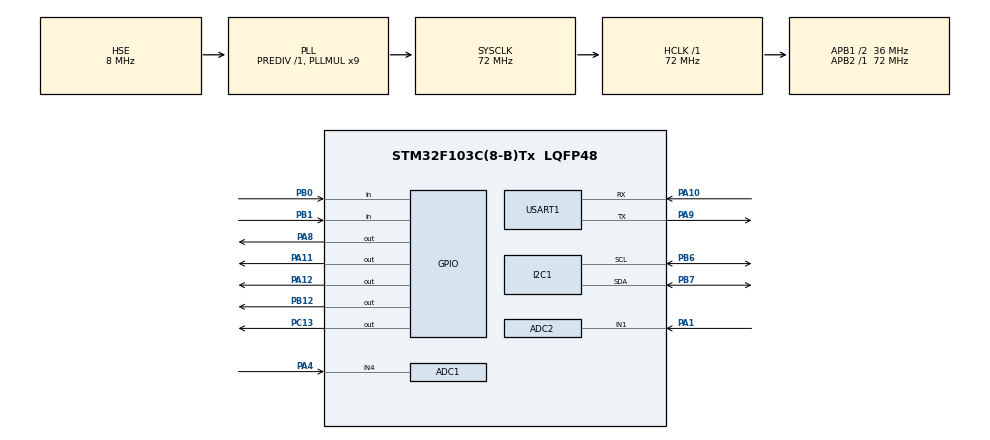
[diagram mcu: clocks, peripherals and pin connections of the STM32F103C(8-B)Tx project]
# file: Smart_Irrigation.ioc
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ADC1.Channel-0\#ChannelRegularConversion=ADC_CHANNEL_4
ADC1.NbrOfConversion=1
ADC1.NbrOfConversionFlag=1
ADC1.Rank-0\#ChannelRegularConversion=1
ADC1.SamplingTime-0\#ChannelRegularConversion=ADC_SAMPLETIME_239CYCLES_5
ADC1.master=1
ADC2.Channel-1\#ChannelRegularConversion=ADC_CHANNEL_1
ADC2.NbrOfConversionFlag=1
ADC2.Rank-1\#ChannelRegularConversion=1
ADC2.SamplingTime-1\#ChannelRegularConversion=ADC_SAMPLETIME_1CYCLE_5
I2C1.I2C_Mode=I2C_Standard
Mcu.Family=STM32F1
Mcu.Name=STM32F103C(8-B)Tx
Mcu.Package=LQFP48
NVIC.PriorityGroup=NVIC_PRIORITYGROUP_4
PA1.Signal=ADCx_IN1
PA10.Mode=Asynchronous
PA10.Signal=USART1_RX
PA11.Signal=GPIO_Output
PA12.Signal=GPIO_Output
PA13.Mode=Serial_Wire
PA13.Signal=SYS_JTMS-SWDIO
PA14.Mode=Serial_Wire
PA14.Signal=SYS_JTCK-SWCLK
PA4.Signal=ADCx_IN4
PA8.Signal=GPIO_Output
PA9.Mode=Asynchronous
PA9.Signal=USART1_TX
PB0.Signal=GPIO_Input
PB1.GPIO_PuPd=GPIO_PULLUP
PB1.Signal=GPIO_Input
PB12.GPIO_ModeDefaultOutputPP=GPIO_MODE_OUTPUT_OD
PB12.GPIO_PuPd=GPIO_NOPULL
PB12.Signal=GPIO_Output
PB6.Mode=I2C
PB6.Signal=I2C1_SCL
PB7.Mode=I2C
PB7.Signal=I2C1_SDA
PC13-TAMPER-RTC.Signal=GPIO_Output
PD0-OSC_IN.Mode=HSE-External-Oscillator
PD0-OSC_IN.Signal=RCC_OSC_IN
PD1-OSC_OUT.Mode=HSE-External-Oscillator
PD1-OSC_OUT.Signal=RCC_OSC_OUT
ProjectManager.HeapSize=0x200
ProjectManager.StackSize=0x400
ProjectManager.TargetToolchain=STM32CubeIDE
RCC.ADCPresc=RCC_ADCPCLK2_DIV6
RCC.AHBFreq_Value=72000000
RCC.APB1CLKDivider=RCC_HCLK_DIV2
RCC.APB1Freq_Value=36000000
RCC.APB1TimFreq_Value=72000000
RCC.APB2Freq_Value=72000000
RCC.APB2TimFreq_Value=72000000
RCC.HCLKFreq_Value=72000000
RCC.PLLMUL=RCC_PLL_MUL9
RCC.PLLSourceVirtual=RCC_PLLSOURCE_HSE
RCC.SYSCLKFreq_VALUE=72000000
RCC.SYSCLKSource=RCC_SYSCLKSOURCE_PLLCLK
RCC.USBFreq_Value=72000000
SH.ADCx_IN1.0=ADC2_IN1,IN1
SH.ADCx_IN4.0=ADC1_IN4,IN4
TIM2.Prescaler=71
USART1.VirtualMode=VM_ASYNC
VP_TIM2_VS_ClockSourceINT.Mode=Internal
board=custom

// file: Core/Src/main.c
/* USER CODE BEGIN Header */

/**
  ******************************************************************************
  * @file           : main.c
  * @brief          : Main program body
  ******************************************************************************
  * @attention
  *
  * Copyright (c) 2026 STMicroelectronics.
  * All rights reserved.
  *
  * This software is licensed under terms that can be found in the LICENSE file
  * in the root directory of this software component.
  * If no LICENSE file comes with this software, it is provided AS-IS.
  *
  ******************************************************************************
  */

/* USER CODE END Header */
#include "main.h"

/* USER CODE BEGIN Includes */
#include "ssd1306.h"
#include "dht22.h"
#include "rain_sensor.h"
#include "water_level.h"
#include "pump.h"
#include "buzzer.h"
#include "soil_moisture.h"
#include "irrigation.h"
#include "display_screens.h"
#include <stdio.h>
/* USER CODE END Includes */

ADC_HandleTypeDef hadc1;
ADC_HandleTypeDef hadc2;

I2C_HandleTypeDef hi2c1;

TIM_HandleTypeDef htim2;

UART_HandleTypeDef huart1;

/* USER CODE BEGIN PV */

uint16_t counter = 0;
char test_buffer[32];

/* USER CODE END PV */

void SystemClock_Config(void);
static void MX_GPIO_Init(void);
static void MX_ADC1_Init(void);
static void MX_I2C1_Init(void);
static void MX_TIM2_Init(void);
static void MX_USART1_UART_Init(void);
static void MX_ADC2_Init(void);

int main(void)
{

  /* MCU Configuration--------------------------------------------------------*/

  /* Reset of all peripherals, Initializes the Flash interface and the Systick. */
  HAL_Init();

  /* Configure the system clock */
  SystemClock_Config();

  /* Initialize all configured peripherals */
  MX_GPIO_Init();
  MX_ADC1_Init();
  MX_I2C1_Init();
  MX_TIM2_Init();
  MX_USART1_UART_Init();
  MX_ADC2_Init();
  /* USER CODE BEGIN 2 */
  ///////SETUP////////////
    SSD1306_Init(&hi2c1);
    SSD1306_Clear();
    SSD1306_SetCursor(0, 0);
    SSD1306_WriteString("SMART IRRIGATION");
    SSD1306_SetCursor(0, 16);
    SSD1306_WriteString("BOOTING...");
    SSD1306_UpdateScreen();

    DHT22_InitTimer(&htim2);
    Pump_Off();
    Buzzer_Off();
    StatusLED_OK(1);
    StatusLED_Warning(0);

    HAL_Delay(1000);

  /* USER CODE END 2 */

  /* Infinite loop */
    while (1)
    {

    /* USER CODE BEGIN 3 */

      static uint8_t pump_should_run = 0;
      static uint8_t screen_index = 0;
      uint8_t pump_timeout_flag = 0;
      uint8_t cooldown_active = 0;

      uint16_t soil_raw = 0, water_raw = 0;

      HAL_ADC_Start(&hadc1);
      HAL_ADC_PollForConversion(&hadc1, 100);
      soil_raw = HAL_ADC_GetValue(&hadc1);      // ADC1 channel 4 (soil, PA4)
      HAL_ADC_Stop(&hadc1);

      HAL_ADC_Start(&hadc2);
      HAL_ADC_PollForConversion(&hadc2, 100);
      water_raw = HAL_ADC_GetValue(&hadc2);     // ADC2 channel 1 (water level, PA1)
      HAL_ADC_Stop(&hadc2);

      uint8_t soil_pct  = Soil_ToPercent(soil_raw);
      uint8_t water_low = WaterLevel_IsLow(water_raw);
      uint8_t raining   = RainSensor_IsRaining();

      float temp = 0.0f, hum = 0.0f;
      DHT22_Status dht_status = DHT22_Read(&temp, &hum);

      SensorFaults faults;
      uint8_t any_fault = SensorFaults_Check(soil_raw, dht_status, &faults);

      uint8_t manual_mode = (HAL_GPIO_ReadPin(GPIOB, GPIO_PIN_1) == GPIO_PIN_RESET);

      if (manual_mode) {
          pump_should_run = (!water_low && !raining && !faults.soil_out_of_range) ? 1 : 0;
      } else {
          Irrigation_Decide(soil_pct, water_low, raining, faults.soil_out_of_range, &pump_should_run);
      }

      Pump_SafeControl(pump_should_run, soil_pct, &pump_timeout_flag, &cooldown_active);

      uint8_t warning = water_low || pump_timeout_flag || cooldown_active || any_fault;
      StatusLED_Warning(warning);
      if (warning) Buzzer_On(); else Buzzer_Off();
      StatusLED_OK(!warning);

      counter++;

      SystemStatus status = {
          .soil_pct = soil_pct,
          .water_low = water_low,
          .raining = raining,
          .temp = temp,
          .hum = hum,
          .dht_ok = (dht_status == DHT22_OK),
          .pump_on = pump_should_run,
          .manual_mode = manual_mode,
          .warning = warning,
          .cooldown_active = cooldown_active,
          .sensor_fault = any_fault
      };

      Display_ShowScreen(screen_index, &status);
      screen_index = (screen_index + 1) % DISPLAY_NUM_SCREENS;

      HAL_Delay(2000);

  /* USER CODE END 3 */
}
}
void SystemClock_Config(void)
{
  RCC_OscInitTypeDef RCC_OscInitStruct = {0};
  RCC_ClkInitTypeDef RCC_ClkInitStruct = {0};
  RCC_PeriphCLKInitTypeDef PeriphClkInit = {0};

  /** Initializes the RCC Oscillators according to the specified parameters
  * in the RCC_OscInitTypeDef structure.
  */
  RCC_OscInitStruct.OscillatorType = RCC_OSCILLATORTYPE_HSE;
  RCC_OscInitStruct.HSEState = RCC_HSE_ON;
  RCC_OscInitStruct.HSEPredivValue = RCC_HSE_PREDIV_DIV1;
  RCC_OscInitStruct.HSIState = RCC_HSI_ON;
  RCC_OscInitStruct.PLL.PLLState = RCC_PLL_ON;
  RCC_OscInitStruct.PLL.PLLSource = RCC_PLLSOURCE_HSE;
  RCC_OscInitStruct.PLL.PLLMUL = RCC_PLL_MUL9;
  if (HAL_RCC_OscConfig(&RCC_OscInitStruct) != HAL_OK)
  {
    Error_Handler();
  }

  /** Initializes the CPU, AHB and APB buses clocks
  */
  RCC_ClkInitStruct.ClockType = RCC_CLOCKTYPE_HCLK|RCC_CLOCKTYPE_SYSCLK
                              |RCC_CLOCKTYPE_PCLK1|RCC_CLOCKTYPE_PCLK2;
  RCC_ClkInitStruct.SYSCLKSource = RCC_SYSCLKSOURCE_PLLCLK;
  RCC_ClkInitStruct.AHBCLKDivider = RCC_SYSCLK_DIV1;
  RCC_ClkInitStruct.APB1CLKDivider = RCC_HCLK_DIV2;
  RCC_ClkInitStruct.APB2CLKDivider = RCC_HCLK_DIV1;

  if (HAL_RCC_ClockConfig(&RCC_ClkInitStruct, FLASH_LATENCY_2) != HAL_OK)
  {
    Error_Handler();
  }
  PeriphClkInit.PeriphClockSelection = RCC_PERIPHCLK_ADC;
  PeriphClkInit.AdcClockSelection = RCC_ADCPCLK2_DIV6;
  if (HAL_RCCEx_PeriphCLKConfig(&PeriphClkInit) != HAL_OK)
  {
    Error_Handler();
  }
}

static void MX_ADC1_Init(void)
{

  ADC_ChannelConfTypeDef sConfig = {0};

  /** Common config
  */
  hadc1.Instance = ADC1;
  hadc1.Init.ScanConvMode = ADC_SCAN_DISABLE;
  hadc1.Init.ContinuousConvMode = DISABLE;
  hadc1.Init.DiscontinuousConvMode = DISABLE;
  hadc1.Init.ExternalTrigConv = ADC_SOFTWARE_START;
  hadc1.Init.DataAlign = ADC_DATAALIGN_RIGHT;
  hadc1.Init.NbrOfConversion = 1;
  if (HAL_ADC_Init(&hadc1) != HAL_OK)
  {
    Error_Handler();
  }

  /** Configure Regular Channel
  */
  sConfig.Channel = ADC_CHANNEL_4;
  sConfig.Rank = ADC_REGULAR_RANK_1;
  sConfig.SamplingTime = ADC_SAMPLETIME_239CYCLES_5;
  if (HAL_ADC_ConfigChannel(&hadc1, &sConfig) != HAL_OK)
  {
    Error_Handler();
  }

}

static void MX_ADC2_Init(void)
{

  ADC_ChannelConfTypeDef sConfig = {0};

  /** Common config
  */
  hadc2.Instance = ADC2;
  hadc2.Init.ScanConvMode = ADC_SCAN_DISABLE;
  hadc2.Init.ContinuousConvMode = DISABLE;
  hadc2.Init.DiscontinuousConvMode = DISABLE;
  hadc2.Init.ExternalTrigConv = ADC_SOFTWARE_START;
  hadc2.Init.DataAlign = ADC_DATAALIGN_RIGHT;
  hadc2.Init.NbrOfConversion = 1;
  if (HAL_ADC_Init(&hadc2) != HAL_OK)
  {
    Error_Handler();
  }

  /** Configure Regular Channel
  */
  sConfig.Channel = ADC_CHANNEL_1;
  sConfig.Rank = ADC_REGULAR_RANK_1;
  sConfig.SamplingTime = ADC_SAMPLETIME_239CYCLES_5;
  if (HAL_ADC_ConfigChannel(&hadc2, &sConfig) != HAL_OK)
  {
    Error_Handler();
  }

}

static void MX_I2C1_Init(void)
{

  hi2c1.Instance = I2C1;
  hi2c1.Init.ClockSpeed = 100000;
  hi2c1.Init.DutyCycle = I2C_DUTYCYCLE_2;
  hi2c1.Init.OwnAddress1 = 0;
  hi2c1.Init.AddressingMode = I2C_ADDRESSINGMODE_7BIT;
  hi2c1.Init.DualAddressMode = I2C_DUALADDRESS_DISABLE;
  hi2c1.Init.OwnAddress2 = 0;
  hi2c1.Init.GeneralCallMode = I2C_GENERALCALL_DISABLE;
  hi2c1.Init.NoStretchMode = I2C_NOSTRETCH_DISABLE;
  if (HAL_I2C_Init(&hi2c1) != HAL_OK)
  {
    Error_Handler();
  }

}

static void MX_TIM2_Init(void)
{

  TIM_ClockConfigTypeDef sClockSourceConfig = {0};
  TIM_MasterConfigTypeDef sMasterConfig = {0};

  htim2.Instance = TIM2;
  htim2.Init.Prescaler = 71;
  htim2.Init.CounterMode = TIM_COUNTERMODE_UP;
  htim2.Init.Period = 65535;
  htim2.Init.ClockDivision = TIM_CLOCKDIVISION_DIV1;
  htim2.Init.AutoReloadPreload = TIM_AUTORELOAD_PRELOAD_DISABLE;
  if (HAL_TIM_Base_Init(&htim2) != HAL_OK)
  {
    Error_Handler();
  }
  sClockSourceConfig.ClockSource = TIM_CLOCKSOURCE_INTERNAL;
  if (HAL_TIM_ConfigClockSource(&htim2, &sClockSourceConfig) != HAL_OK)
  {
    Error_Handler();
  }
  sMasterConfig.MasterOutputTrigger = TIM_TRGO_RESET;
  sMasterConfig.MasterSlaveMode = TIM_MASTERSLAVEMODE_DISABLE;
  if (HAL_TIMEx_MasterConfigSynchronization(&htim2, &sMasterConfig) != HAL_OK)
  {
    Error_Handler();
  }

}

static void MX_USART1_UART_Init(void)
{

  huart1.Instance = USART1;
  huart1.Init.BaudRate = 115200;
  huart1.Init.WordLength = UART_WORDLENGTH_8B;
  huart1.Init.StopBits = UART_STOPBITS_1;
  huart1.Init.Parity = UART_PARITY_NONE;
  huart1.Init.Mode = UART_MODE_TX_RX;
  huart1.Init.HwFlowCtl = UART_HWCONTROL_NONE;
  huart1.Init.OverSampling = UART_OVERSAMPLING_16;
  if (HAL_UART_Init(&huart1) != HAL_OK)
  {
    Error_Handler();
  }

}

static void MX_GPIO_Init(void)
{
  GPIO_InitTypeDef GPIO_InitStruct = {0};

  /* GPIO Ports Clock Enable */
  __HAL_RCC_GPIOC_CLK_ENABLE();
  __HAL_RCC_GPIOD_CLK_ENABLE();
  __HAL_RCC_GPIOA_CLK_ENABLE();
  __HAL_RCC_GPIOB_CLK_ENABLE();

  /*Configure GPIO pin Output Level */
  HAL_GPIO_WritePin(GPIOC, GPIO_PIN_13, GPIO_PIN_RESET);

  /*Configure GPIO pin Output Level */
  HAL_GPIO_WritePin(GPIOB, GPIO_PIN_12, GPIO_PIN_RESET);

  /*Configure GPIO pin Output Level */
  HAL_GPIO_WritePin(GPIOA, GPIO_PIN_8|GPIO_PIN_11|GPIO_PIN_12, GPIO_PIN_RESET);

  /*Configure GPIO pin : PC13 */
  GPIO_InitStruct.Pin = GPIO_PIN_13;
  GPIO_InitStruct.Mode = GPIO_MODE_OUTPUT_PP;
  GPIO_InitStruct.Pull = GPIO_NOPULL;
  GPIO_InitStruct.Speed = GPIO_SPEED_FREQ_LOW;
  HAL_GPIO_Init(GPIOC, &GPIO_InitStruct);

  /*Configure GPIO pin : PB0 */
  GPIO_InitStruct.Pin = GPIO_PIN_0;
  GPIO_InitStruct.Mode = GPIO_MODE_INPUT;
  GPIO_InitStruct.Pull = GPIO_NOPULL;
  HAL_GPIO_Init(GPIOB, &GPIO_InitStruct);

  /*Configure GPIO pin : PB1 */
  GPIO_InitStruct.Pin = GPIO_PIN_1;
  GPIO_InitStruct.Mode = GPIO_MODE_INPUT;
  GPIO_InitStruct.Pull = GPIO_PULLUP;
  HAL_GPIO_Init(GPIOB, &GPIO_InitStruct);

  /*Configure GPIO pin : PB12 */
  GPIO_InitStruct.Pin = GPIO_PIN_12;
  GPIO_InitStruct.Mode = GPIO_MODE_OUTPUT_OD;
  GPIO_InitStruct.Pull = GPIO_NOPULL;
  GPIO_InitStruct.Speed = GPIO_SPEED_FREQ_LOW;
  HAL_GPIO_Init(GPIOB, &GPIO_InitStruct);

  /*Configure GPIO pins : PA8 PA11 PA12 */
  GPIO_InitStruct.Pin = GPIO_PIN_8|GPIO_PIN_11|GPIO_PIN_12;
  GPIO_InitStruct.Mode = GPIO_MODE_OUTPUT_PP;
  GPIO_InitStruct.Pull = GPIO_NOPULL;
  GPIO_InitStruct.Speed = GPIO_SPEED_FREQ_LOW;
  HAL_GPIO_Init(GPIOA, &GPIO_InitStruct);

  /* USER CODE BEGIN MX_GPIO_Init_2 */

  /*Configure ADC input pins : PA4 (ADC_CHANNEL_4 / soil, ADC1) PA1 (ADC_CHANNEL_1 / sensor2, ADC2) */

  GPIO_InitStruct.Pin = GPIO_PIN_4|GPIO_PIN_1;

  GPIO_InitStruct.Mode = GPIO_MODE_ANALOG;

  GPIO_InitStruct.Pull = GPIO_NOPULL;

  HAL_GPIO_Init(GPIOA, &GPIO_InitStruct);

  /* USER CODE END MX_GPIO_Init_2 */
}

void Error_Handler(void)
{
  __disable_irq();
  while (1)
  {
  }
}
